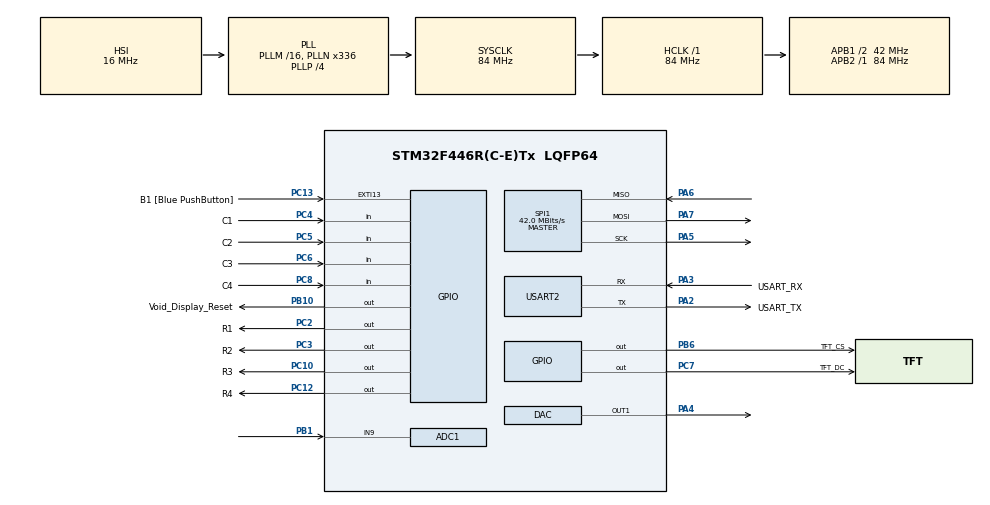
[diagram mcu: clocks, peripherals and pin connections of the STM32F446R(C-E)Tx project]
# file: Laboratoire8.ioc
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ADC1.Channel-1\#ChannelRegularConversion=ADC_CHANNEL_9
ADC1.DMAContinuousRequests=ENABLE
ADC1.ExternalTrigConv=ADC_EXTERNALTRIGCONV_T2_TRGO
ADC1.NbrOfConversionFlag=1
ADC1.Rank-1\#ChannelRegularConversion=1
ADC1.SamplingTime-1\#ChannelRegularConversion=ADC_SAMPLETIME_3CYCLES
ADC1.master=1
DAC.DAC_Trigger=DAC_TRIGGER_T2_TRGO
Dma.ADC1.1.Direction=DMA_PERIPH_TO_MEMORY
Dma.ADC1.1.FIFOMode=DMA_FIFOMODE_DISABLE
Dma.ADC1.1.Instance=DMA2_Stream0
Dma.ADC1.1.MemDataAlignment=DMA_MDATAALIGN_WORD
Dma.ADC1.1.MemInc=DMA_MINC_ENABLE
Dma.ADC1.1.Mode=DMA_CIRCULAR
Dma.ADC1.1.PeriphDataAlignment=DMA_PDATAALIGN_WORD
Dma.ADC1.1.PeriphInc=DMA_PINC_DISABLE
Dma.ADC1.1.Priority=DMA_PRIORITY_HIGH
Dma.DAC1.3.Direction=DMA_MEMORY_TO_PERIPH
Dma.DAC1.3.FIFOMode=DMA_FIFOMODE_DISABLE
Dma.DAC1.3.Instance=DMA1_Stream5
Dma.DAC1.3.MemDataAlignment=DMA_MDATAALIGN_WORD
Dma.DAC1.3.MemInc=DMA_MINC_ENABLE
Dma.DAC1.3.Mode=DMA_NORMAL
Dma.DAC1.3.PeriphDataAlignment=DMA_PDATAALIGN_WORD
Dma.DAC1.3.PeriphInc=DMA_PINC_DISABLE
Dma.DAC1.3.Priority=DMA_PRIORITY_HIGH
Dma.Request0=SPI1_TX
Dma.Request1=ADC1
Dma.Request2=TIM2_UP/CH3
Dma.Request3=DAC1
Dma.SPI1_TX.0.Direction=DMA_MEMORY_TO_PERIPH
Dma.SPI1_TX.0.FIFOMode=DMA_FIFOMODE_DISABLE
Dma.SPI1_TX.0.Instance=DMA2_Stream3
Dma.SPI1_TX.0.MemDataAlignment=DMA_MDATAALIGN_BYTE
Dma.SPI1_TX.0.MemInc=DMA_MINC_ENABLE
Dma.SPI1_TX.0.Mode=DMA_NORMAL
Dma.SPI1_TX.0.PeriphDataAlignment=DMA_PDATAALIGN_BYTE
Dma.SPI1_TX.0.PeriphInc=DMA_PINC_DISABLE
Dma.SPI1_TX.0.Priority=DMA_PRIORITY_LOW
Dma.TIM2_UP/CH3.2.Direction=DMA_PERIPH_TO_MEMORY
Dma.TIM2_UP/CH3.2.FIFOMode=DMA_FIFOMODE_DISABLE
Dma.TIM2_UP/CH3.2.Instance=DMA1_Stream1
Dma.TIM2_UP/CH3.2.MemDataAlignment=DMA_MDATAALIGN_WORD
Dma.TIM2_UP/CH3.2.MemInc=DMA_MINC_ENABLE
Dma.TIM2_UP/CH3.2.Mode=DMA_NORMAL
Dma.TIM2_UP/CH3.2.PeriphDataAlignment=DMA_PDATAALIGN_WORD
Dma.TIM2_UP/CH3.2.PeriphInc=DMA_PINC_DISABLE
Dma.TIM2_UP/CH3.2.Priority=DMA_PRIORITY_HIGH
Mcu.Family=STM32F4
Mcu.Name=STM32F446R(C-E)Tx
Mcu.Package=LQFP64
NVIC.DMA1_Stream1_IRQn=true\:0\:0\:false\:false\:true\:false\:true\:true
NVIC.DMA1_Stream5_IRQn=true\:0\:0\:false\:false\:true\:false\:true\:true
NVIC.DMA2_Stream0_IRQn=true\:0\:0\:false\:false\:true\:false\:true\:true
NVIC.DMA2_Stream3_IRQn=true\:0\:0\:false\:false\:true\:false\:true\:true
NVIC.PriorityGroup=NVIC_PRIORITYGROUP_0
NVIC.SPI1_IRQn=true\:0\:0\:false\:false\:true\:true\:true\:true
NVIC.TIM2_IRQn=true\:0\:0\:false\:false\:true\:true\:true\:true
PA13.GPIO_Label=TMS
PA13.Mode=Serial_Wire
PA13.Signal=SYS_JTMS-SWDIO
PA14.GPIO_Label=TCK
PA14.Mode=Serial_Wire
PA14.Signal=SYS_JTCK-SWCLK
PA2.GPIO_Label=USART_TX
PA2.Mode=Asynchronous
PA2.Signal=USART2_TX
PA3.GPIO_Label=USART_RX
PA3.Mode=Asynchronous
PA3.Signal=USART2_RX
PA4.Signal=COMP_DAC1_group
PA5.Mode=Full_Duplex_Master
PA5.Signal=SPI1_SCK
PA6.Mode=Full_Duplex_Master
PA6.Signal=SPI1_MISO
PA7.Mode=Full_Duplex_Master
PA7.Signal=SPI1_MOSI
PB1.Signal=ADCx_IN9
PB10.GPIO_Label=Void_Display_Reset
PB10.Signal=GPIO_Output
PB3.GPIO_Label=SWO
PB3.Signal=SYS_JTDO-SWO
PB6.GPIO_Label=TFT_CS
PB6.Signal=GPIO_Output
PC10.GPIO_Label=R3
PC10.GPIO_ModeDefaultOutputPP=GPIO_MODE_OUTPUT_OD
PC10.GPIO_PuPd=GPIO_NOPULL
PC10.Signal=GPIO_Output
PC12.GPIO_Label=R4
PC12.GPIO_ModeDefaultOutputPP=GPIO_MODE_OUTPUT_OD
PC12.GPIO_PuPd=GPIO_NOPULL
PC12.Signal=GPIO_Output
PC13.GPIO_Label=B1 [Blue PushButton]
PC13.GPIO_ModeDefaultEXTI=GPIO_MODE_IT_FALLING
PC13.Signal=GPXTI13
PC14-OSC32_IN.Mode=LSE-External-Oscillator
PC14-OSC32_IN.Signal=RCC_OSC32_IN
PC15-OSC32_OUT.Mode=LSE-External-Oscillator
PC15-OSC32_OUT.Signal=RCC_OSC32_OUT
PC2.GPIO_Label=R1
PC2.GPIO_ModeDefaultOutputPP=GPIO_MODE_OUTPUT_OD
PC2.GPIO_PuPd=GPIO_NOPULL
PC2.Signal=GPIO_Output
PC3.GPIO_Label=R2
PC3.GPIO_ModeDefaultOutputPP=GPIO_MODE_OUTPUT_OD
PC3.GPIO_PuPd=GPIO_NOPULL
PC3.Signal=GPIO_Output
PC4.GPIO_Label=C1
PC4.GPIO_PuPd=GPIO_PULLUP
PC4.Signal=GPIO_Input
PC5.GPIO_Label=C2
PC5.GPIO_PuPd=GPIO_PULLUP
PC5.Signal=GPIO_Input
PC6.GPIO_Label=C3
PC6.GPIO_PuPd=GPIO_PULLUP
PC6.Signal=GPIO_Input
PC7.GPIO_Label=TFT_DC
PC7.Signal=GPIO_Output
PC8.GPIO_Label=C4
PC8.GPIO_PuPd=GPIO_PULLUP
PC8.Signal=GPIO_Input
PH0-OSC_IN.Mode=HSE-External-Oscillator
PH0-OSC_IN.Signal=RCC_OSC_IN
PH1-OSC_OUT.Mode=HSE-External-Oscillator
PH1-OSC_OUT.Signal=RCC_OSC_OUT
ProjectManager.HeapSize=0x200
ProjectManager.StackSize=0x400
ProjectManager.TargetToolchain=MDK-ARM V5.32
RCC.48MHZClocksFreq_Value=84000000
RCC.AHBFreq_Value=84000000
RCC.APB1CLKDivider=RCC_HCLK_DIV2
RCC.APB1Freq_Value=42000000
RCC.APB1TimFreq_Value=84000000
RCC.APB2Freq_Value=84000000
RCC.APB2TimFreq_Value=84000000
RCC.CortexFreq_Value=84000000
RCC.FLatency-AdvancedSettings=FLASH_LATENCY_2
RCC.HCLKFreq_Value=84000000
RCC.HSE_VALUE=8000000
RCC.HSI_VALUE=16000000
RCC.PLLN=336
RCC.PLLP=RCC_PLLP_DIV4
RCC.SYSCLKFreq_VALUE=84000000
RCC.SYSCLKSource=RCC_SYSCLKSOURCE_PLLCLK
RCC.USBFreq_Value=168000000
RCC.VCOOutputFreq_Value=336000000
SH.ADCx_IN9.0=ADC1_IN9,IN9
SH.COMP_DAC1_group.0=DAC_OUT1,DAC_OUT1
SPI1.CalculateBaudRate=42.0 MBits/s
SPI1.Direction=SPI_DIRECTION_2LINES
SPI1.Mode=SPI_MODE_MASTER
SPI1.VirtualType=VM_MASTER
TIM1.Period=1000
TIM1.Prescaler=83
TIM2.Period=24
TIM2.Prescaler=83
TIM2.TIM_MasterOutputTrigger=TIM_TRGO_UPDATE
USART2.VirtualMode=VM_ASYNC
VP_TIM1_VS_ClockSourceINT.Mode=Internal
VP_TIM2_VS_ClockSourceINT.Mode=Internal
board=NUCLEO-F446RE

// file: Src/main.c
/* USER CODE BEGIN Header */
/**
 ******************************************************************************
 * @file           : main.c
 * @brief          : Main program body
 ******************************************************************************
 * @attention
 *
 * Copyright (c) 2024 STMicroelectronics.
 * All rights reserved.
 *
 * This software is licensed under terms that can be found in the LICENSE file
 * in the root directory of this software component.
 * If no LICENSE file comes with this software, it is provided AS-IS.
 *
 ******************************************************************************
 */

#define EXP2

/* USER CODE END Header */
#include "main.h"
#include "adc.h"
#include "dac.h"
#include "dma.h"
#include "gpio.h"
#include "spi.h"
#include "tim.h"
#include "usart.h"

/* USER CODE BEGIN Includes */
#include "math.h"
#include "stdio.h"

#include "ili9341.h"
#include "ili9341_gfx.h"
/* USER CODE END Includes */

/* USER CODE BEGIN PV */
ili9341_t *_screen;

const float XX = 350.0;
const float YY = 1450.0;
const uint32_t STEPS = 6;
const uint32_t ZZ = 500;
const float k = 0.5;
volatile int step = 0;
int prev_step = 0;
float step_freq = 350;
float step_mul = 1.0;

#define TABLE_LENGTH 20000
uint32_t tab_value[TABLE_LENGTH];
volatile int flag_done = 0;

/* USER CODE END PV */

void SystemClock_Config(void);
/* USER CODE BEGIN PFP */

void fill_table_sqr_wave(float freq) {
  for (int i = 0; i < TABLE_LENGTH; i++) {
    int time_ms = i;
    int wl = (1.0 / freq) * 40000;
    float value = (time_ms % wl) < (wl / 2) ? 2047.0 : 0.0;
    value *= 1.0 + k * sinf(2 * 3.1415 * time_ms / 20000);
    tab_value[i] = (int)value;
  }
}

void HAL_SYSTICK_Callback(void) {
  static uint32_t ms_elapsed = 0;
  static uint8_t rev = 0;
  ms_elapsed++;
  if (ms_elapsed > ZZ) {
    ms_elapsed = 0;
    if (rev) {
      step--;
      if (step == 0) {
        rev = 0;
      }
    } else {
      step++;
      if (step >= (STEPS)) {
        rev = 1;
      }
    }
  }
}

void HAL_DAC_ConvCpltCallbackCh1(DAC_HandleTypeDef *hdac) {
  HAL_DAC_Start_DMA(hdac, DAC_CHANNEL_1, tab_value, TABLE_LENGTH,
                    DAC_ALIGN_12B_R);
}

/* USER CODE END PFP */

int main(void) {

  /* MCU Configuration--------------------------------------------------------*/

  /* Reset of all peripherals, Initializes the Flash interface and the Systick.
   */
  HAL_Init();

  /* Configure the system clock */
  SystemClock_Config();

  /* Initialize all configured peripherals */
  MX_GPIO_Init();
  MX_DMA_Init();
  MX_USART2_UART_Init();
  MX_SPI1_Init();
  MX_ADC1_Init();
  MX_TIM2_Init();
  MX_DAC_Init();
  MX_TIM1_Init();
  /* USER CODE BEGIN 2 */
  _screen = ili9341_new(&hspi1, Void_Display_Reset_GPIO_Port,
                        Void_Display_Reset_Pin, TFT_CS_GPIO_Port, TFT_CS_Pin,
                        TFT_DC_GPIO_Port, TFT_DC_Pin, isoLandscape, NULL, NULL,
                        NULL, NULL, itsNotSupported, itnNormalized);

  ili9341_fill_screen(_screen, ILI9341_BLACK);
  ili9341_text_attr_t text_attr = {&ili9341_font_11x18, ILI9341_WHITE,
                                   ILI9341_BLACK, 0, 0};

  step_mul = powf(YY / XX, 1.0 / 6.0);

  /* USER CODE END 2 */

  /* Infinite loop */
  /* USER CODE BEGIN WHILE */

// Experience 1
#ifdef EXP1
  HAL_TIM_Base_Start(&htim2);
  HAL_ADC_Start_DMA(&hadc1, tab_value, TABLE_LENGTH);
#endif
// END Experience 1

// Experience 2
#ifdef EXP2
  for (int i = 0; i < TABLE_LENGTH; i++) {
    float value = (i % 100) * (4097.0 / 100);
    tab_value[i] = (int)value;
  }

  HAL_TIM_Base_Start(&htim2);
  HAL_DAC_Start_DMA(&hdac, DAC_CHANNEL_1, tab_value, TABLE_LENGTH,
                    DAC_ALIGN_12B_R);
#endif
  // END Experience 2

  while (1) {
    /* USER CODE END WHILE */

    /* USER CODE BEGIN 3 */
// Experience 1
#ifdef EXP1
    static int count = 0;
    while (flag_done == 0) {
    };             // Wait for DMA
    flag_done = 0; // Reset flag_done

    int max_value;
    int min_value;
    float rms = 0;
    float mean = 0;
    min_value = max_value = tab_value[0];
    for (int i = 1; i < TABLE_LENGTH; i++) {
      if (tab_value[i] > max_value)
        max_value = tab_value[i];
      if (tab_value[i] < min_value)
        min_value = tab_value[i];
      mean += tab_value[i];
    }
    mean /= TABLE_LENGTH;
    for (int i = 0; i < TABLE_LENGTH; i++) {
      float ac_value = tab_value[i] - mean;
      rms += ac_value * ac_value;
    }
    rms /= TABLE_LENGTH;
    int db_value = 10 * log(rms);
    ili9341_fill_screen(_screen, ILI9341_BLACK);

    char buf[80];
    sprintf(buf, "Min:%i\r\n", min_value);
    ili9341_text_attr_t text_attr = {&ili9341_font_11x18, ILI9341_WHITE,
                                     ILI9341_BLACK, 0, 40};
    ili9341_draw_string(_screen, text_attr, buf);

    sprintf(buf, "Max:%i\r\n", max_value);
    ili9341_text_attr_t text_attr2 = {&ili9341_font_11x18, ILI9341_WHITE,
                                      ILI9341_BLACK, 0, 80};
    ili9341_draw_string(_screen, text_attr2, buf);

    sprintf(buf, "dB:%i\r\n", db_value);
    ili9341_text_attr_t text_attr3 = {&ili9341_font_11x18, ILI9341_WHITE,
                                      ILI9341_BLACK, 0, 120};
    ili9341_draw_string(_screen, text_attr3, buf);
    printf("Done : %i\r\n", count);

    count++;
#endif
// END Experience 1

// Experience 2
#ifdef EXP2
// Tout se fait tout seul par DMA
#endif

    if (prev_step != step) {
      char buf[80];
      step_freq = XX * powf(step_mul, step);
      prev_step = step;
      sprintf(buf, "freq:%.2f\r\n", step_freq);
      ili9341_text_attr_t text_attr = {&ili9341_font_11x18, ILI9341_WHITE,
                                       ILI9341_BLACK, 0, 40};
      ili9341_draw_string(_screen, text_attr, buf);
      sprintf(buf, "step:%i\r\n", step);
      ili9341_text_attr_t text_attr3 = {&ili9341_font_11x18, ILI9341_WHITE,
                                        ILI9341_BLACK, 0, 120};
      ili9341_draw_string(_screen, text_attr3, buf);
      fill_table_sqr_wave(step_freq);
    }

    // END Experience 2
  }
  /* USER CODE END 3 */
}

void SystemClock_Config(void) {
  RCC_OscInitTypeDef RCC_OscInitStruct = {0};
  RCC_ClkInitTypeDef RCC_ClkInitStruct = {0};

  /** Configure the main internal regulator output voltage
   */
  __HAL_RCC_PWR_CLK_ENABLE();
  __HAL_PWR_VOLTAGESCALING_CONFIG(PWR_REGULATOR_VOLTAGE_SCALE3);

  /** Initializes the RCC Oscillators according to the specified parameters
   * in the RCC_OscInitTypeDef structure.
   */
  RCC_OscInitStruct.OscillatorType = RCC_OSCILLATORTYPE_HSI;
  RCC_OscInitStruct.HSIState = RCC_HSI_ON;
  RCC_OscInitStruct.HSICalibrationValue = RCC_HSICALIBRATION_DEFAULT;
  RCC_OscInitStruct.PLL.PLLState = RCC_PLL_ON;
  RCC_OscInitStruct.PLL.PLLSource = RCC_PLLSOURCE_HSI;
  RCC_OscInitStruct.PLL.PLLM = 16;
  RCC_OscInitStruct.PLL.PLLN = 336;
  RCC_OscInitStruct.PLL.PLLP = RCC_PLLP_DIV4;
  RCC_OscInitStruct.PLL.PLLQ = 2;
  RCC_OscInitStruct.PLL.PLLR = 2;
  if (HAL_RCC_OscConfig(&RCC_OscInitStruct) != HAL_OK) {
    Error_Handler();
  }

  /** Initializes the CPU, AHB and APB buses clocks
   */
  RCC_ClkInitStruct.ClockType = RCC_CLOCKTYPE_HCLK | RCC_CLOCKTYPE_SYSCLK |
                                RCC_CLOCKTYPE_PCLK1 | RCC_CLOCKTYPE_PCLK2;
  RCC_ClkInitStruct.SYSCLKSource = RCC_SYSCLKSOURCE_PLLCLK;
  RCC_ClkInitStruct.AHBCLKDivider = RCC_SYSCLK_DIV1;
  RCC_ClkInitStruct.APB1CLKDivider = RCC_HCLK_DIV2;
  RCC_ClkInitStruct.APB2CLKDivider = RCC_HCLK_DIV1;

  if (HAL_RCC_ClockConfig(&RCC_ClkInitStruct, FLASH_LATENCY_2) != HAL_OK) {
    Error_Handler();
  }
}

/* USER CODE BEGIN 4 */
int fputc(int ch, FILE *f) {
  /* Place your implementation of fputc here */
  /* e.g. write a character to the USART2 and Loop until the end of transmission
   */
  HAL_UART_Transmit(&huart2, (uint8_t *)&ch, 1, 0xFFFF);
  return ch;
}

void HAL_ADC_ConvCpltCallback(ADC_HandleTypeDef *hadc) {
  if (hadc->Instance == ADC1) {
    flag_done = 1;
  }
}

/* USER CODE END 4 */

void Error_Handler(void) {
  __disable_irq();
  while (1) {
  }
}

#ifdef USE_FULL_ASSERT
/**
 * @brief  Reports the name of the source file and the source line number
 *         where the assert_param error has occurred.
 * @param  file: pointer to the source file name
 * @param  line: assert_param error line source number
 * @retval None
 */
void assert_failed(uint8_t *file, uint32_t line) {
  /* USER CODE BEGIN 6 */
  /* User can add his own implementation to report the file name and line
     number,
     ex: printf("Wrong parameters value: file %s on line %d\r\n", file, line) */
  /* USER CODE END 6 */
}
#endif /* USE_FULL_ASSERT */
